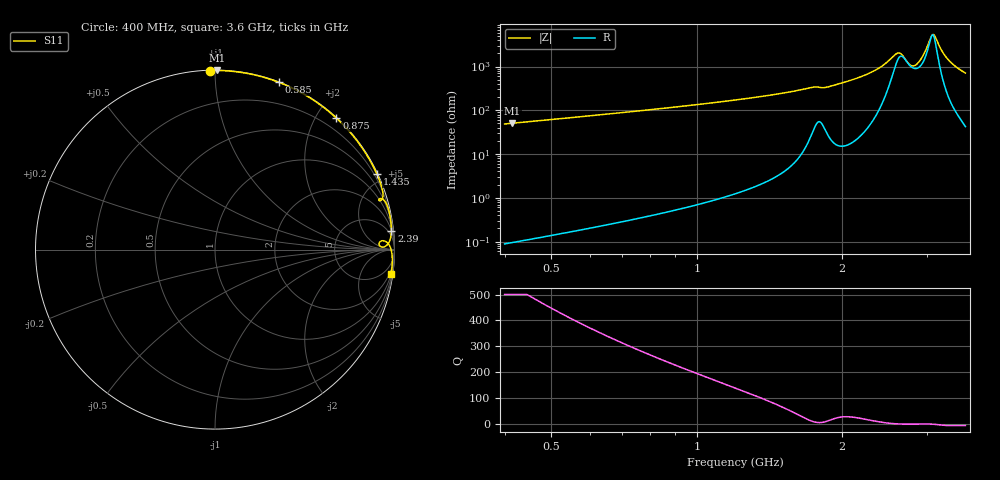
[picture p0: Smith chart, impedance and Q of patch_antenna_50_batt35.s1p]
! patch_antenna_50_batt35
! simulated by sim/rf_fdtd.py
# HZ S RI R 50
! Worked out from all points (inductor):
!   641 points, 400 MHz to 3.6 GHz, reference 50 ohm
!   read as one part to ground: L = 19.1 nH near 415 MHz
!   highest Q = 534 at 415 MHz (marker M1), where L = 19.4 nH
!   self-resonance near 3.072 GHz
!   S11 on the Smith chart (normalised r, x): 400 MHz: 0.00, +0.97; 585 MHz: 0.00, +1.45; 875 MHz: 0.01, +2.29; 1.435 GHz: 0.05, +4.52; 2.39 GHz: 2, +19; 3.6 GHz: 1, -14
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4e8  -0.0268 0.9978
4.15e8  0.0113 0.9981
5e8  0.2031 0.9769
5.85e8  0.3566 0.9316
6.85e8  0.4966 0.8649
8e8  0.6165 0.7836
8.75e8  0.6769 0.7319
1.025e9  0.768 0.6351
1.2e9  0.8402 0.5352
1.435e9  0.902 0.4198
1.6e9  0.9293 0.3461
1.69e9  0.9361 0.3043
1.75e9  0.9278 0.2768
1.805e9  0.9123 0.2782
1.86e9  0.9332 0.2815
1.92e9  0.9521 0.261
2e9  0.9644 0.2311
2.39e9  0.9824 0.1042
2.4e9  0.9824 0.1011
2.56e9  0.9732 0.049
2.675e9  0.9463 0.0168
2.735e9  0.9236 0.0164
2.8e9  0.9147 0.0369
2.855e9  0.9303 0.0492
2.91e9  0.9508 0.0452
3.03e9  0.9768 0.0127
3.2e9  0.9871 -0.0367
3.6e9  0.982 -0.1385
